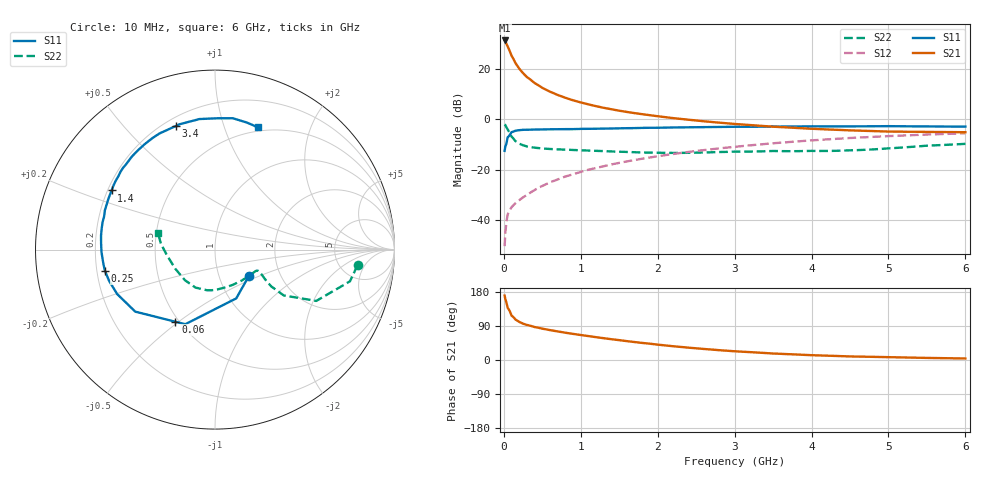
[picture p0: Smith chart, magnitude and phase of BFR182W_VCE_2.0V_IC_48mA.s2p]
! Infineon Technologies  Discrete & RF Semiconductors
! BFR182W
! VCE =  2.0 V,  IC =  48 mA
! Common Emitter S-Parameters:  Jan 2017
# GHz  S  MA  R  50
!  f  S11  S21  S12  S22
! GHz  MAG  ANG  MAG  ANG  MAG  ANG  MAG  ANG
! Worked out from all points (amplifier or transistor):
!   77 points, 10 MHz to 6 GHz, reference 50 ohm
!   highest |S21| = 31.3 dB at 10 MHz (marker M1)
!   |S21| within 3 dB of that: start of sweep to 59.58 MHz
!   unconditionally stable (mu >= 1): start of sweep to 16.66 MHz; 198.4 MHz to end of sweep
!   at 130 MHz: K = 0.81, MSG = 28.7 dB, |S12| = -33.8 dB
!   at 2.2 GHz: K = 1.11, MAG = 5.1 dB, |S12| = -13.7 dB
!   at 6 GHz: K = 1.07, MAG = -1.4 dB, |S12| = -5.5 dB
!   S11 on the Smith chart (normalised r, x): 10 MHz: 1.39, -0.43; 60 MHz: 0.48, -0.49; 250 MHz: 0.23, -0.09; 1.4 GHz: 0.22, +0.25; 3.4 GHz: 0.24, +0.70; 6 GHz: 0.46, +1.31
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0.01  0.2395 -38.1  36.76 169.9  0.0031 60.7  0.7989 -6.3
0.02  0.2965 -66.5  35.7 160.4  0.0058 69.2  0.7725 -13.2
0.05  0.4473 -111.7  28.06 137.6  0.0132 58.7  0.6325 -26.9
0.06  0.4585 -118.8  25.93 134.8  0.0142 57.4  0.5975 -27.9
0.1  0.5628 -142.1  18.41 117.2  0.0183 53.6  0.46 -33.7
0.15  0.5989 -155.6  13.2 107.0  0.0219 53.7  0.3746 -33.2
0.2  0.6148 -163.4  10.18 100.6  0.0252 57.4  0.3324 -31.2
0.25  0.6244 -168.9  8.273 95.9  0.0288 59.8  0.3088 -29.4
0.3  0.627 -172.8  6.935 92.5  0.032 62.0  0.2929 -27.9
0.4  0.6328 -178.9  5.274 87.0  0.0401 66.3  0.2765 -26.4
0.5  0.6358 176.6  4.24 82.7  0.0483 68.4  0.2669 -26.2
0.6  0.6398 172.8  3.557 78.9  0.0569 70.2  0.2606 -26.8
0.7  0.6422 169.5  3.063 75.4  0.065 71.8  0.2563 -27.8
0.9  0.6449 163.3  2.399 68.9  0.0823 72.6  0.2492 -31.2
1.1  0.6536 157.6  1.992 63.1  0.1013 72.6  0.2427 -35.5
1.4  0.6636 150.2  1.594 54.8  0.1291 72.0  0.2328 -43.3
2.1  0.6904 133.9  1.112 38.5  0.1973 67.3  0.2184 -67.4
3.1  0.7172 113.5  0.796 21.9  0.2978 57.2  0.2308 -104.3
3.4  0.7223 107.6  0.739 18.4  0.3278 53.9  0.2351 -114.1
4.1  0.7313 95.3  0.646 12.1  0.3947 45.4  0.238 -138.4
5.1  0.7361 81.0  0.575 7.1  0.4756 33.0  0.2737 -175.5
6  0.7218 70.6  0.56 4.0  0.5329 22.4  0.3293 164.1
